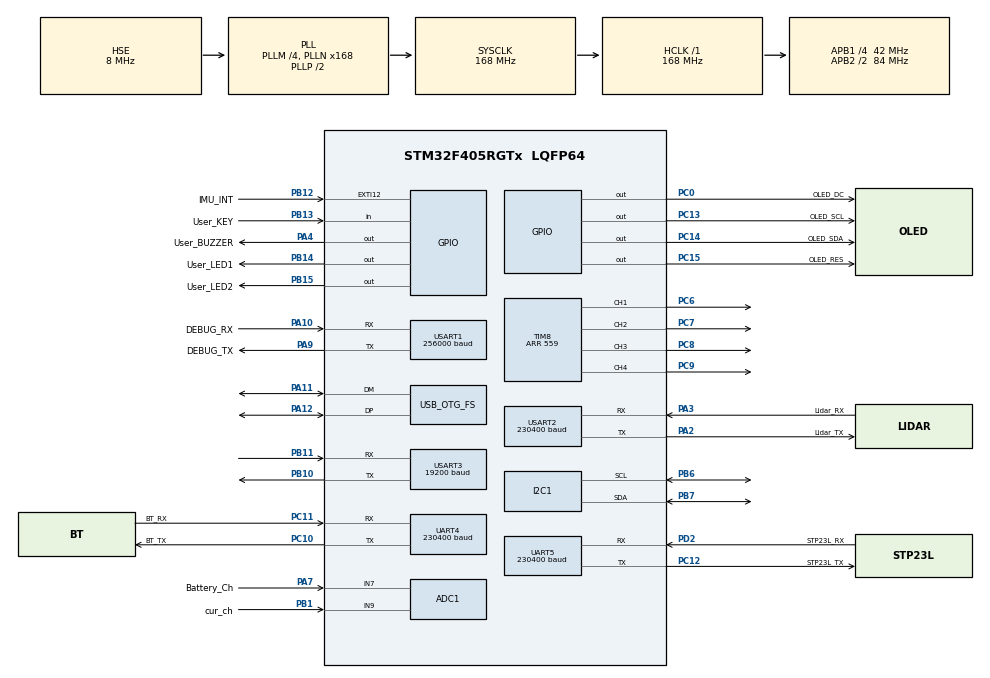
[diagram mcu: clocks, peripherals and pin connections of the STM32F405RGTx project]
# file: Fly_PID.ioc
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ADC1.Channel-0\#ChannelRegularConversion=ADC_CHANNEL_7
ADC1.Channel-1\#ChannelRegularConversion=ADC_CHANNEL_9
ADC1.ClockPrescaler=ADC_CLOCK_SYNC_PCLK_DIV6
ADC1.ContinuousConvMode=ENABLE
ADC1.DMAContinuousRequests=ENABLE
ADC1.NbrOfConversion=2
ADC1.NbrOfConversionFlag=1
ADC1.Rank-0\#ChannelRegularConversion=1
ADC1.Rank-1\#ChannelRegularConversion=2
ADC1.SamplingTime-0\#ChannelRegularConversion=ADC_SAMPLETIME_480CYCLES
ADC1.SamplingTime-1\#ChannelRegularConversion=ADC_SAMPLETIME_480CYCLES
ADC1.ScanConvMode=ENABLE
ADC1.master=1
Dma.ADC1.5.Direction=DMA_PERIPH_TO_MEMORY
Dma.ADC1.5.FIFOMode=DMA_FIFOMODE_DISABLE
Dma.ADC1.5.Instance=DMA2_Stream0
Dma.ADC1.5.MemDataAlignment=DMA_MDATAALIGN_HALFWORD
Dma.ADC1.5.MemInc=DMA_MINC_ENABLE
Dma.ADC1.5.Mode=DMA_CIRCULAR
Dma.ADC1.5.PeriphDataAlignment=DMA_PDATAALIGN_HALFWORD
Dma.ADC1.5.PeriphInc=DMA_PINC_DISABLE
Dma.ADC1.5.Priority=DMA_PRIORITY_LOW
Dma.Request0=USART2_RX
Dma.Request1=TIM8_CH1
Dma.Request2=TIM8_CH2
Dma.Request3=TIM8_CH3
Dma.Request4=TIM8_CH4/TRIG/COM
Dma.Request5=ADC1
Dma.Request6=UART5_RX
Dma.Request7=UART4_TX
Dma.Request8=USART3_RX
Dma.TIM8_CH1.1.Direction=DMA_MEMORY_TO_PERIPH
Dma.TIM8_CH1.1.FIFOMode=DMA_FIFOMODE_DISABLE
Dma.TIM8_CH1.1.Instance=DMA2_Stream2
Dma.TIM8_CH1.1.MemDataAlignment=DMA_MDATAALIGN_HALFWORD
Dma.TIM8_CH1.1.MemInc=DMA_MINC_ENABLE
Dma.TIM8_CH1.1.Mode=DMA_NORMAL
Dma.TIM8_CH1.1.PeriphDataAlignment=DMA_PDATAALIGN_HALFWORD
Dma.TIM8_CH1.1.PeriphInc=DMA_PINC_DISABLE
Dma.TIM8_CH1.1.Priority=DMA_PRIORITY_LOW
Dma.TIM8_CH2.2.Direction=DMA_MEMORY_TO_PERIPH
Dma.TIM8_CH2.2.FIFOMode=DMA_FIFOMODE_DISABLE
Dma.TIM8_CH2.2.Instance=DMA2_Stream3
Dma.TIM8_CH2.2.MemDataAlignment=DMA_MDATAALIGN_HALFWORD
Dma.TIM8_CH2.2.MemInc=DMA_MINC_ENABLE
Dma.TIM8_CH2.2.Mode=DMA_NORMAL
Dma.TIM8_CH2.2.PeriphDataAlignment=DMA_PDATAALIGN_HALFWORD
Dma.TIM8_CH2.2.PeriphInc=DMA_PINC_DISABLE
Dma.TIM8_CH2.2.Priority=DMA_PRIORITY_LOW
Dma.TIM8_CH3.3.Direction=DMA_MEMORY_TO_PERIPH
Dma.TIM8_CH3.3.FIFOMode=DMA_FIFOMODE_DISABLE
Dma.TIM8_CH3.3.Instance=DMA2_Stream4
Dma.TIM8_CH3.3.MemDataAlignment=DMA_MDATAALIGN_HALFWORD
Dma.TIM8_CH3.3.MemInc=DMA_MINC_ENABLE
Dma.TIM8_CH3.3.Mode=DMA_NORMAL
Dma.TIM8_CH3.3.PeriphDataAlignment=DMA_PDATAALIGN_HALFWORD
Dma.TIM8_CH3.3.PeriphInc=DMA_PINC_DISABLE
Dma.TIM8_CH3.3.Priority=DMA_PRIORITY_LOW
Dma.TIM8_CH4/TRIG/COM.4.Direction=DMA_MEMORY_TO_PERIPH
Dma.TIM8_CH4/TRIG/COM.4.FIFOMode=DMA_FIFOMODE_DISABLE
Dma.TIM8_CH4/TRIG/COM.4.Instance=DMA2_Stream7
Dma.TIM8_CH4/TRIG/COM.4.MemDataAlignment=DMA_MDATAALIGN_HALFWORD
Dma.TIM8_CH4/TRIG/COM.4.MemInc=DMA_MINC_ENABLE
Dma.TIM8_CH4/TRIG/COM.4.Mode=DMA_NORMAL
Dma.TIM8_CH4/TRIG/COM.4.PeriphDataAlignment=DMA_PDATAALIGN_HALFWORD
Dma.TIM8_CH4/TRIG/COM.4.PeriphInc=DMA_PINC_DISABLE
Dma.TIM8_CH4/TRIG/COM.4.Priority=DMA_PRIORITY_LOW
Dma.UART4_TX.7.Direction=DMA_MEMORY_TO_PERIPH
Dma.UART4_TX.7.FIFOMode=DMA_FIFOMODE_DISABLE
Dma.UART4_TX.7.Instance=DMA1_Stream4
Dma.UART4_TX.7.MemDataAlignment=DMA_MDATAALIGN_BYTE
Dma.UART4_TX.7.MemInc=DMA_MINC_ENABLE
Dma.UART4_TX.7.Mode=DMA_NORMAL
Dma.UART4_TX.7.PeriphDataAlignment=DMA_PDATAALIGN_BYTE
Dma.UART4_TX.7.PeriphInc=DMA_PINC_DISABLE
Dma.UART4_TX.7.Priority=DMA_PRIORITY_LOW
Dma.UART5_RX.6.Direction=DMA_PERIPH_TO_MEMORY
Dma.UART5_RX.6.FIFOMode=DMA_FIFOMODE_DISABLE
Dma.UART5_RX.6.Instance=DMA1_Stream0
Dma.UART5_RX.6.MemDataAlignment=DMA_MDATAALIGN_BYTE
Dma.UART5_RX.6.MemInc=DMA_MINC_ENABLE
Dma.UART5_RX.6.Mode=DMA_NORMAL
Dma.UART5_RX.6.PeriphDataAlignment=DMA_PDATAALIGN_BYTE
Dma.UART5_RX.6.PeriphInc=DMA_PINC_DISABLE
Dma.UART5_RX.6.Priority=DMA_PRIORITY_LOW
Dma.USART2_RX.0.Direction=DMA_PERIPH_TO_MEMORY
Dma.USART2_RX.0.FIFOMode=DMA_FIFOMODE_DISABLE
Dma.USART2_RX.0.Instance=DMA1_Stream5
Dma.USART2_RX.0.MemDataAlignment=DMA_MDATAALIGN_BYTE
Dma.USART2_RX.0.MemInc=DMA_MINC_ENABLE
Dma.USART2_RX.0.Mode=DMA_NORMAL
Dma.USART2_RX.0.PeriphDataAlignment=DMA_PDATAALIGN_BYTE
Dma.USART2_RX.0.PeriphInc=DMA_PINC_DISABLE
Dma.USART2_RX.0.Priority=DMA_PRIORITY_HIGH
Dma.USART3_RX.8.Direction=DMA_PERIPH_TO_MEMORY
Dma.USART3_RX.8.FIFOMode=DMA_FIFOMODE_DISABLE
Dma.USART3_RX.8.Instance=DMA1_Stream1
Dma.USART3_RX.8.MemDataAlignment=DMA_MDATAALIGN_BYTE
Dma.USART3_RX.8.MemInc=DMA_MINC_ENABLE
Dma.USART3_RX.8.Mode=DMA_NORMAL
Dma.USART3_RX.8.PeriphDataAlignment=DMA_PDATAALIGN_BYTE
Dma.USART3_RX.8.PeriphInc=DMA_PINC_DISABLE
Dma.USART3_RX.8.Priority=DMA_PRIORITY_LOW
FREERTOS.Tasks01=defaultTask,24,128,StartDefaultTask,Default,NULL,Dynamic,NULL,NULL
FREERTOS.configCHECK_FOR_STACK_OVERFLOW=2
FREERTOS.configENABLE_FPU=1
FREERTOS.configGENERATE_RUN_TIME_STATS=1
FREERTOS.configLIBRARY_MAX_SYSCALL_INTERRUPT_PRIORITY=5
FREERTOS.configMINIMAL_STACK_SIZE=128
FREERTOS.configTIMER_TASK_PRIORITY=25
FREERTOS.configTIMER_TASK_STACK_DEPTH=256
FREERTOS.configTOTAL_HEAP_SIZE=25600
FREERTOS.configUSE_IDLE_HOOK=1
FREERTOS.configUSE_MALLOC_FAILED_HOOK=1
FREERTOS.configUSE_STATS_FORMATTING_FUNCTIONS=1
I2C1.I2C_Mode=I2C_Fast
Mcu.Family=STM32F4
Mcu.Name=STM32F405RGTx
Mcu.Package=LQFP64
NVIC.DMA1_Stream0_IRQn=true\:5\:0\:false\:false\:true\:true\:false\:true\:true
NVIC.DMA1_Stream1_IRQn=true\:5\:0\:false\:false\:true\:true\:false\:true\:true
NVIC.DMA1_Stream4_IRQn=true\:5\:0\:false\:false\:true\:true\:false\:true\:true
NVIC.DMA1_Stream5_IRQn=true\:5\:0\:false\:false\:true\:true\:false\:true\:true
NVIC.DMA2_Stream0_IRQn=true\:5\:0\:false\:false\:true\:true\:false\:true\:true
NVIC.DMA2_Stream2_IRQn=true\:5\:0\:false\:false\:true\:true\:false\:true\:true
NVIC.DMA2_Stream3_IRQn=true\:5\:0\:false\:false\:true\:true\:false\:true\:true
NVIC.DMA2_Stream4_IRQn=true\:5\:0\:false\:false\:true\:true\:false\:true\:true
NVIC.DMA2_Stream7_IRQn=true\:5\:0\:false\:false\:true\:true\:false\:true\:true
NVIC.EXTI15_10_IRQn=true\:5\:0\:true\:false\:true\:false\:true\:true\:true
NVIC.OTG_FS_IRQn=true\:5\:0\:false\:false\:true\:true\:true\:true\:true
NVIC.PriorityGroup=NVIC_PRIORITYGROUP_4
NVIC.TIM7_IRQn=true\:0\:0\:true\:false\:true\:false\:false\:true\:true
NVIC.TIM8_UP_TIM13_IRQn=true\:5\:0\:false\:false\:true\:true\:true\:true\:true
NVIC.TimeBase=TIM7_IRQn
NVIC.TimeBaseIP=TIM7
NVIC.UART4_IRQn=true\:5\:0\:false\:false\:true\:true\:true\:true\:true
NVIC.UART5_IRQn=true\:5\:0\:false\:false\:true\:true\:true\:true\:true
NVIC.USART1_IRQn=true\:5\:0\:true\:false\:true\:true\:false\:true\:true
NVIC.USART2_IRQn=true\:8\:0\:true\:false\:true\:true\:true\:true\:true
NVIC.USART3_IRQn=true\:5\:0\:false\:false\:true\:true\:true\:true\:true
PA10.GPIO_Label=DEBUG_RX
PA10.Mode=Asynchronous
PA10.Signal=USART1_RX
PA11.Mode=Host_Only
PA11.Signal=USB_OTG_FS_DM
PA12.Mode=Host_Only
PA12.Signal=USB_OTG_FS_DP
PA13.Mode=Serial_Wire
PA13.Signal=SYS_JTMS-SWDIO
PA14.Mode=Serial_Wire
PA14.Signal=SYS_JTCK-SWCLK
PA2.GPIO_Label=Lidar_TX
PA2.Mode=Asynchronous
PA2.Signal=USART2_TX
PA3.GPIO_Label=Lidar_RX
PA3.Mode=Asynchronous
PA3.Signal=USART2_RX
PA4.GPIO_Label=User_BUZZER
PA4.GPIO_PuPd=GPIO_PULLDOWN
PA4.Signal=GPIO_Output
PA7.GPIO_Label=Battery_Ch
PA7.Signal=ADCx_IN7
PA9.GPIO_Label=DEBUG_TX
PA9.Mode=Asynchronous
PA9.Signal=USART1_TX
PB1.GPIO_Label=cur_ch
PB1.Signal=ADCx_IN9
PB10.Mode=Asynchronous
PB10.Signal=USART3_TX
PB11.Mode=Asynchronous
PB11.Signal=USART3_RX
PB12.GPIO_Label=IMU_INT
PB12.GPIO_ModeDefaultEXTI=GPIO_MODE_IT_RISING
PB12.GPIO_PuPd=GPIO_PULLDOWN
PB12.Signal=GPXTI12
PB13.GPIO_Label=User_KEY
PB13.Signal=GPIO_Input
PB14.GPIO_Label=User_LED1
PB14.GPIO_ModeDefaultOutputPP=GPIO_MODE_OUTPUT_PP
PB14.GPIO_PuPd=GPIO_PULLUP
PB14.PinState=GPIO_PIN_SET
PB14.Signal=GPIO_Output
PB15.GPIO_Label=User_LED2
PB15.GPIO_PuPd=GPIO_PULLUP
PB15.PinState=GPIO_PIN_SET
PB15.Signal=GPIO_Output
PB6.Mode=I2C
PB6.Signal=I2C1_SCL
PB7.Mode=I2C
PB7.Signal=I2C1_SDA
PC0.GPIO_Label=OLED_DC
PC0.Signal=GPIO_Output
PC10.GPIO_Label=BT_TX
PC10.Mode=Asynchronous
PC10.Signal=UART4_TX
PC11.GPIO_Label=BT_RX
PC11.Mode=Asynchronous
PC11.Signal=UART4_RX
PC12.GPIO_Label=STP23L_TX
PC12.Mode=Asynchronous
PC12.Signal=UART5_TX
PC13-ANTI_TAMP.GPIO_Label=OLED_SCL
PC13-ANTI_TAMP.Signal=GPIO_Output
PC14-OSC32_IN.GPIO_Label=OLED_SDA
PC14-OSC32_IN.Signal=GPIO_Output
PC15-OSC32_OUT.GPIO_Label=OLED_RES
PC15-OSC32_OUT.Signal=GPIO_Output
PC6.GPIO_Speed=GPIO_SPEED_FREQ_VERY_HIGH
PC6.Signal=S_TIM8_CH1
PC7.GPIO_Speed=GPIO_SPEED_FREQ_VERY_HIGH
PC7.Signal=S_TIM8_CH2
PC8.GPIO_Speed=GPIO_SPEED_FREQ_VERY_HIGH
PC8.Signal=S_TIM8_CH3
PC9.GPIO_Speed=GPIO_SPEED_FREQ_VERY_HIGH
PC9.Signal=S_TIM8_CH4
PD2.GPIO_Label=STP23L_RX
PD2.Mode=Asynchronous
PD2.Signal=UART5_RX
PH0-OSC_IN.Mode=HSE-External-Oscillator
PH0-OSC_IN.Signal=RCC_OSC_IN
PH1-OSC_OUT.Mode=HSE-External-Oscillator
PH1-OSC_OUT.Signal=RCC_OSC_OUT
ProjectManager.HeapSize=0x200
ProjectManager.StackSize=0x400
ProjectManager.TargetToolchain=MDK-ARM V5.32
RCC.48MHZClocksFreq_Value=48000000
RCC.AHBFreq_Value=168000000
RCC.APB1CLKDivider=RCC_HCLK_DIV4
RCC.APB1Freq_Value=42000000
RCC.APB1TimFreq_Value=84000000
RCC.APB2CLKDivider=RCC_HCLK_DIV2
RCC.APB2Freq_Value=84000000
RCC.APB2TimFreq_Value=168000000
RCC.CortexFreq_Value=168000000
RCC.HCLKFreq_Value=168000000
RCC.HSE_VALUE=8000000
RCC.HSI_VALUE=16000000
RCC.LSE_VALUE=32768
RCC.PLLM=4
RCC.PLLN=168
RCC.PLLQ=7
RCC.SYSCLKFreq_VALUE=168000000
RCC.SYSCLKSource=RCC_SYSCLKSOURCE_PLLCLK
RCC.VCOOutputFreq_Value=336000000
SH.ADCx_IN7.0=ADC1_IN7,IN7
SH.ADCx_IN9.0=ADC1_IN9,IN9
SH.S_TIM8_CH1.0=TIM8_CH1,PWM Generation1 CH1
SH.S_TIM8_CH2.0=TIM8_CH2,PWM Generation2 CH2
SH.S_TIM8_CH3.0=TIM8_CH3,PWM Generation3 CH3
SH.S_TIM8_CH4.0=TIM8_CH4,PWM Generation4 CH4
TIM6.Period=0xffff
TIM6.Prescaler=839
TIM8.Channel-PWM\ Generation1\ CH1=TIM_CHANNEL_1
TIM8.Channel-PWM\ Generation2\ CH2=TIM_CHANNEL_2
TIM8.Channel-PWM\ Generation3\ CH3=TIM_CHANNEL_3
TIM8.Channel-PWM\ Generation4\ CH4=TIM_CHANNEL_4
TIM8.Period=559
UART4.BaudRate=230400
UART4.VirtualMode=Asynchronous
UART5.BaudRate=230400
UART5.VirtualMode=Asynchronous
USART1.BaudRate=256000
USART1.VirtualMode=VM_ASYNC
USART2.BaudRate=230400
USART2.VirtualMode=VM_ASYNC
USART3.BaudRate=19200
USART3.VirtualMode=VM_ASYNC
USB_HOST.SW_VBUS_DRIVE_HID_FS=true
USB_HOST.USBH_HandleTypeDef-HID_FS=hUsbHostFS
USB_HOST.USBH_MAX_DATA_BUFFER-HID_FS=1024
USB_HOST.USBH_MAX_NUM_SUPPORTED_CLASS-HID_FS=2
USB_HOST.USBH_PROCESS_STACK_SIZE-HID_FS=1024
USB_HOST.VirtualModeFS=Hid
USB_OTG_FS.VirtualMode=Host_Only
USB_OTG_FS.phy_itface=HCD_PHY_EMBEDDED
VP_FREERTOS_VS_CMSIS_V2.Mode=CMSIS_V2
VP_SYS_VS_tim7.Mode=TIM7
VP_TIM6_VS_ClockSourceINT.Mode=Enable_Timer
VP_TIM8_VS_ClockSourceINT.Mode=Internal
VP_USB_HOST_VS_USB_HOST_HID_FS.Mode=HID_FS
board=custom

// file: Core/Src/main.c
/* USER CODE BEGIN Header */
/**
  ******************************************************************************
  * @file           : main.c
  * @brief          : Main program body
  ******************************************************************************
  * @attention
  *
  * Copyright (c) 2024 STMicroelectronics.
  * All rights reserved.
  *
  * This software is licensed under terms that can be found in the LICENSE file
  * in the root directory of this software component.
  * If no LICENSE file comes with this software, it is provided AS-IS.
  *
  ******************************************************************************
  */
/* USER CODE END Header */
#include "main.h"
#include "cmsis_os.h"
#include "adc.h"
#include "dma.h"
#include "i2c.h"
#include "tim.h"
#include "usart.h"
#include "usb_host.h"
#include "gpio.h"

/* USER CODE BEGIN Includes */
//C Lib
#include <stdio.h>

//FreeRTOS
#include "FreeRTOS.h"
#include "semphr.h"

//HAL

//BSP
#include "bsp_led.h"
#include "bsp_oled.h"
#include "bsp_adc.h"
#include "bsp_imu.h"
#include "bsp_LC307.h"
/* USER CODE END Includes */

/* USER CODE BEGIN PV */
uint8_t uart1_recv,uart4_recv;
float g_userparam_pitchzero = 0 , g_userparam_rollzero = 0;
DebugShowVal_t g_debugVal = { 0 };
/* USER CODE END PV */

void SystemClock_Config(void);
void MX_FREERTOS_Init(void);

int main(void)
{

  /* MCU Configuration--------------------------------------------------------*/

  /* Reset of all peripherals, Initializes the Flash interface and the Systick. */
  HAL_Init();

  /* Configure the system clock */
  SystemClock_Config();

  /* Initialize all configured peripherals */
  MX_GPIO_Init();
  MX_DMA_Init();
  MX_USART1_UART_Init();
  MX_USART2_UART_Init();
  MX_TIM6_Init();
  MX_TIM8_Init();
  MX_I2C1_Init();
  MX_ADC1_Init();
  MX_UART5_Init();
  MX_UART4_Init();
  MX_USART3_UART_Init();
  /* USER CODE BEGIN 2 */

	pOLEDInterface_t oled = &UserOLED;
	oled->init();

	//蓝牙、调试串口
	HAL_UART_Receive_IT(&huart4,&uart4_recv,1);
	HAL_UART_Receive_IT(&huart1,&uart1_recv,1);

	//用户调试定时器
	HAL_TIM_Base_Start(&htim6);

	//ADC初始化
	pADCInterface_t adc1 = &UserADC1;
	adc1->init();

	//使用硬件IIC时需要
	//检查硬件IIC是否出现BUSY异常
	if( (I2C1->SR2>>1)&0x01 )
	{
		HAL_I2C_MspDeInit(&hi2c1);

		//将IIC总线强制释放
		GPIO_InitTypeDef GPIO_InitStruct = {0};
		GPIO_InitStruct.Pin = GPIO_PIN_6|GPIO_PIN_7;
		GPIO_InitStruct.Mode = GPIO_MODE_OUTPUT_PP;
		GPIO_InitStruct.Pull = GPIO_PULLUP;
		GPIO_InitStruct.Speed = GPIO_SPEED_FREQ_LOW;
		HAL_GPIO_Init(GPIOB, &GPIO_InitStruct);
		HAL_GPIO_WritePin(GPIOB,GPIO_PIN_6,GPIO_PIN_SET);
		HAL_GPIO_WritePin(GPIOB,GPIO_PIN_7,GPIO_PIN_SET);

		//重新初始化IIC
		I2C1->CR1 &= ~(1<<0);//禁止IIC外设
		HAL_Delay(50);
		I2C1->CR1 |= (1<<0);//重新使能
		I2C1->CR1 |= (1<<15);//进行软件复位
		HAL_Delay(50);
		I2C1->CR1 &= ~(1<<15);
		MX_I2C1_Init();
	}

  //icm20948初始化与状态提示
  pLedInterface_t imu_initled = &UserLed1;
  pIMUInterface_t imu = &UserICM20948;

  imu_initled -> off();
  while( imu->Init() )
  {
	  imu_initled -> toggle();//初始化过程出错,闪烁
	  HAL_Delay(60);
	  NVIC_SystemReset();
  }
  imu_initled -> on();//初始化完成,亮灯提示

   //光流模块初始化
  Opf_LC307_Init();

  //读取用户设定的零点数据
  extern void User_Flash_ReadParam(uint32_t* p,uint16_t datalen);
  int32_t tmp[2] = { 0 } ;
  User_Flash_ReadParam((uint32_t*)tmp,2);
  if( tmp[0]!=0xffffffff )
	  g_userparam_pitchzero = *((float*)&tmp[0]);
  if( tmp[1]!=0xffffffff )
	  g_userparam_rollzero = *((float*)&tmp[1]);

  /* USER CODE END 2 */

  /* Init scheduler */
  osKernelInitialize();

  /* Call init function for freertos objects (in cmsis_os2.c) */
  MX_FREERTOS_Init();

  /* Start scheduler */
  osKernelStart();

  /* We should never get here as control is now taken by the scheduler */

  /* Infinite loop */
  while (1)
  {

  }
}

void SystemClock_Config(void)
{
  RCC_OscInitTypeDef RCC_OscInitStruct = {0};
  RCC_ClkInitTypeDef RCC_ClkInitStruct = {0};

  /** Configure the main internal regulator output voltage
  */
  __HAL_RCC_PWR_CLK_ENABLE();
  __HAL_PWR_VOLTAGESCALING_CONFIG(PWR_REGULATOR_VOLTAGE_SCALE1);

  /** Initializes the RCC Oscillators according to the specified parameters
  * in the RCC_OscInitTypeDef structure.
  */
  RCC_OscInitStruct.OscillatorType = RCC_OSCILLATORTYPE_HSE;
  RCC_OscInitStruct.HSEState = RCC_HSE_ON;
  RCC_OscInitStruct.PLL.PLLState = RCC_PLL_ON;
  RCC_OscInitStruct.PLL.PLLSource = RCC_PLLSOURCE_HSE;
  RCC_OscInitStruct.PLL.PLLM = 4;
  RCC_OscInitStruct.PLL.PLLN = 168;
  RCC_OscInitStruct.PLL.PLLP = RCC_PLLP_DIV2;
  RCC_OscInitStruct.PLL.PLLQ = 7;
  if (HAL_RCC_OscConfig(&RCC_OscInitStruct) != HAL_OK)
  {
    Error_Handler();
  }

  /** Initializes the CPU, AHB and APB buses clocks
  */
  RCC_ClkInitStruct.ClockType = RCC_CLOCKTYPE_HCLK|RCC_CLOCKTYPE_SYSCLK
                              |RCC_CLOCKTYPE_PCLK1|RCC_CLOCKTYPE_PCLK2;
  RCC_ClkInitStruct.SYSCLKSource = RCC_SYSCLKSOURCE_PLLCLK;
  RCC_ClkInitStruct.AHBCLKDivider = RCC_SYSCLK_DIV1;
  RCC_ClkInitStruct.APB1CLKDivider = RCC_HCLK_DIV4;
  RCC_ClkInitStruct.APB2CLKDivider = RCC_HCLK_DIV2;

  if (HAL_RCC_ClockConfig(&RCC_ClkInitStruct, FLASH_LATENCY_5) != HAL_OK)
  {
    Error_Handler();
  }
}

/* USER CODE BEGIN 4 */

UART_HandleTypeDef *DebugSerial = &huart1;

//实现printf、scanf函数
int fputc(int ch,FILE* stream)
{
	while( HAL_OK != HAL_UART_Transmit(DebugSerial,(const uint8_t *)&ch,1,100));
	return ch;
}

static xSemaphoreHandle debug_1_HandleMutex;
static char g_last_char;
static char g_backspace;

int fgetc(FILE* f)
{
	//没有初始化则调用初始化函数
	static uint8_t init = 0;
	if( init == 0 )
	{
		init = 1;
		debug_1_HandleMutex = xSemaphoreCreateMutex();
	}

	int ch;
	if( g_backspace )
	{
		xSemaphoreTake(debug_1_HandleMutex,portMAX_DELAY);
		g_backspace = 0 ;
		xSemaphoreGive(debug_1_HandleMutex);

		return g_last_char;
	}

	while( HAL_OK!= HAL_UART_Receive(DebugSerial,(uint8_t *)&ch,1,HAL_MAX_DELAY) );
	g_last_char = ch;
	return ch;
}

int __backspace(FILE *stream)
{
	xSemaphoreTake(debug_1_HandleMutex,portMAX_DELAY);
	g_backspace = 1 ;
	xSemaphoreGive(debug_1_HandleMutex);
	return 0;
}

//定时器8更新中断回调函数
__weak void User_TIM8_UpdateCallback(void)
{

}

/* USER CODE END 4 */

void HAL_TIM_PeriodElapsedCallback(TIM_HandleTypeDef *htim)
{
  if (htim->Instance == TIM7) {
    HAL_IncTick();
  }
  /* USER CODE BEGIN Callback 1 */
	else if(TIM8 == htim->Instance)
	{
		User_TIM8_UpdateCallback();
	}

  /* USER CODE END Callback 1 */
}

void Error_Handler(void)
{
  __disable_irq();
  while (1)
  {
  }
}

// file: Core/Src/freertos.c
/* USER CODE BEGIN Header */
/**
  ******************************************************************************
  * File Name          : freertos.c
  * Description        : Code for freertos applications
  ******************************************************************************
  * @attention
  *
  * Copyright (c) 2024 STMicroelectronics.
  * All rights reserved.
  *
  * This software is licensed under terms that can be found in the LICENSE file
  * in the root directory of this software component.
  * If no LICENSE file comes with this software, it is provided AS-IS.
  *
  ******************************************************************************
  */
/* USER CODE END Header */

#include "FreeRTOS.h"
#include "task.h"
#include "main.h"
#include "cmsis_os.h"

/* USER CODE BEGIN Includes */

//C Lib
#include <stdio.h>

#include "queue.h"
#include "semphr.h"
#include "event_groups.h"

//HAL
#include "usart.h"

//BSP
#include "bsp_stp23L.h"
//#include "bsp_N10.h"
#include "bsp_stl06n.h"

//APP
#include "balance_task.h"

/* USER CODE END Includes */

/* USER CODE BEGIN PD */
#define userconfig_OPEN_STACK_CHECK 0     //开启任务堆栈大小打印
#define userconfig_OPEN_CPU_USAGE_CHECK 0 //开启任务CPU占用率打印
#define userconfig_OPEN_CHECK_HEAPSIZE 0  //打印剩余的堆大小
/* USER CODE END PD */

/* USER CODE BEGIN Variables */
xSemaphoreHandle HandleMutex_printf;

    //任务句柄
TaskHandle_t sensorhandleTask_Handle;
TaskHandle_t balanceTask_Handle;
TaskHandle_t g_xTaskHandleCoordTask;

    //队列句柄
    QueueHandle_t g_xQueuestp23L_Ori;     //外围设备：stp23L雷达 原始数据的读取
    QueueHandle_t g_xQueueN10_Ori;        //外围设备：N10雷达        原始数据的读取
QueueHandle_t g_xQueuestl06n_Ori;

    QueueSetHandle_t g_xQueueSetSensor;   //传感器消息队列集合，汇聚所有传感器的数据
    QueueHandle_t g_xQueueFlyControl;     //飞行器控制队列
    QueueHandle_t g_xQueueBlueTooth_Ori;  //蓝牙APP原始数据
    QueueHandle_t g_xQueueLidarBuffer;    //雷达数据队列

    //事件组
    EventGroupHandle_t g_xEventFlyAction; //飞行器事件组句柄

/* USER CODE END Variables */
/* Definitions for defaultTask */
osThreadId_t defaultTaskHandle;
const osThreadAttr_t defaultTask_attributes = {
  .name = "defaultTask",
  .stack_size = 128 * 4,
  .priority = (osPriority_t) osPriorityNormal,
};

/* USER CODE BEGIN FunctionPrototypes */

    //RTOS系统调试功能
#if ( 1 == userconfig_OPEN_CPU_USAGE_CHECK ) || ( 1 == userconfig_OPEN_STACK_CHECK ) || ( 1 == userconfig_OPEN_CHECK_HEAPSIZE )
void CpuUsageCheckTask(void *param);
#endif

    //显示任务
__weak void ShowTask(void* param)
{
  for(;;) vTaskDelay(1);
}

    //外围传感器数据处理任务
__weak void SensorHandleTask(void* param)
{
  for(;;) vTaskDelay(1);
}

    //平衡控制任务
__weak void balance_task(void* param)
{
  for(;;) vTaskDelay(1);
}

    //蓝牙APP控制任务
__weak void BluetoothAPPControl_task(void* param)
{
  for(;;) vTaskDelay(1);
}

__weak void CoordinateHandleTask(void* param)
{
  for(;;) vTaskDelay(1);
}

/* USER CODE END FunctionPrototypes */

void StartDefaultTask(void *argument);

extern void MX_USB_HOST_Init(void);
void MX_FREERTOS_Init(void); /* (MISRA C 2004 rule 8.1) */

/* Hook prototypes */
void configureTimerForRunTimeStats(void);
unsigned long getRunTimeCounterValue(void);
void vApplicationIdleHook(void);
void vApplicationStackOverflowHook(xTaskHandle xTask, signed char *pcTaskName);
void vApplicationMallocFailedHook(void);

/* USER CODE BEGIN 1 */
/* Functions needed when configGENERATE_RUN_TIME_STATS is on */
__weak void configureTimerForRunTimeStats(void)
{
      //使用CPU占用率计时前先清空计数
  TIM6->CNT = 0;
}

__weak unsigned long getRunTimeCounterValue(void)
{
  static unsigned long time = 0 ;
  static uint16_t lasttime = 0;
  static uint16_t nowtime = 0;

      nowtime = TIM6->CNT; //获得当前计数值

      //若本次计数值小于上次计数值，说明发生了定时器溢出
  if( nowtime < lasttime )
  {
        time += (nowtime + 0xffff - lasttime); //累加定时器周期
  }
      else time += ( nowtime - lasttime ) ; //未溢出则直接为当前时间-上次时间

  lasttime = nowtime;

  return time;
}

/* USER CODE END 1 */

/* USER CODE BEGIN 2 */
void vApplicationIdleHook( void )
{
   /* vApplicationIdleHook() will only be called if configUSE_IDLE_HOOK is set
   to 1 in FreeRTOSConfig.h. It will be called on each iteration of the idle
   task. It is essential that code added to this hook function never attempts
   to block in any way (for example, call xQueueReceive() with a block time
   specified, or call vTaskDelay()). If the application makes use of the
   vTaskDelete() API function (as this demo application does) then it is also
   important that vApplicationIdleHook() is permitted to return to its calling
   function, because it is the responsibility of the idle task to clean up
   memory allocated by the kernel to any task that has since been deleted. */
}
/* USER CODE END 2 */

/* USER CODE BEGIN 4 */
void vApplicationStackOverflowHook(xTaskHandle xTask, signed char *pcTaskName)
{
   /* Run time stack overflow checking is performed if
   configCHECK_FOR_STACK_OVERFLOW is defined to 1 or 2. This hook function is
   called if a stack overflow is detected. */
  printf("%s stack overflow\r\n",pcTaskName);
}
/* USER CODE END 4 */

/* USER CODE BEGIN 5 */
void vApplicationMallocFailedHook(void)
{
   /* vApplicationMallocFailedHook() will only be called if
   configUSE_MALLOC_FAILED_HOOK is set to 1 in FreeRTOSConfig.h. It is a hook
   function that will get called if a call to pvPortMalloc() fails.
   pvPortMalloc() is called internally by the kernel whenever a task, queue,
   timer or semaphore is created. It is also called by various parts of the
   demo application. If heap_1.c or heap_2.c are used, then the size of the
   heap available to pvPortMalloc() is defined by configTOTAL_HEAP_SIZE in
   FreeRTOSConfig.h, and the xPortGetFreeHeapSize() API function can be used
   to query the size of free heap space that remains (although it does not
   provide information on how the remaining heap might be fragmented). */
  printf("malloc failed.check heapsize\r\n");
}
/* USER CODE END 5 */

void MX_FREERTOS_Init(void) {

  /* USER CODE BEGIN RTOS_MUTEX */
  /* add mutexes, ... */
  HandleMutex_printf = xSemaphoreCreateMutex();

  /* USER CODE END RTOS_MUTEX */

  /* USER CODE BEGIN RTOS_QUEUES */
  /* add queues, ... */
      /* 创建队列 */
  g_xQueuestp23L_Ori = xQueueCreate(5,sizeof(OriData_STP23L_t));
  g_xQueuestl06n_Ori    = xQueueCreate(10,sizeof(OriData_STL06N_t));
  g_xQueueFlyControl = xQueueCreate(1,sizeof(FlyControlType_t));
  g_xQueueBlueTooth_Ori = xQueueCreate(50,sizeof(char));
  g_xQueueLidarBuffer = xQueueCreate(5,sizeof(Stl06NAngleBuffer_t));

      /* 创建队列集合，并加入队列 */
  g_xQueueSetSensor = xQueueCreateSet( 5 + 10 );
  xQueueAddToSet(g_xQueuestp23L_Ori,g_xQueueSetSensor);
  xQueueAddToSet(g_xQueuestl06n_Ori,g_xQueueSetSensor);
  /* USER CODE END RTOS_QUEUES */

  /* Create the thread(s) */
  /* creation of defaultTask */
  defaultTaskHandle = osThreadNew(StartDefaultTask, NULL, &defaultTask_attributes);

  /* USER CODE BEGIN RTOS_THREADS */
  /* add threads, ... */
   xTaskCreate(ShowTask,"ShowTask",128*2,NULL,osPriorityNormal,NULL);
   xTaskCreate(SensorHandleTask,"SensorTask",128*3,NULL,osPriorityNormal,&sensorhandleTask_Handle);
   xTaskCreate(balance_task,"BalanceTask",128*4,NULL,osPriorityNormal,&balanceTask_Handle);
   xTaskCreate(BluetoothAPPControl_task,"BTAPPTask",128*2,NULL,osPriorityNormal,NULL);
   xTaskCreate(CoordinateHandleTask,"coordTask",128*16,NULL,osPriorityNormal,&g_xTaskHandleCoordTask);

      //调试功能
  #if ( 1 == userconfig_OPEN_CPU_USAGE_CHECK ) || ( 1 == userconfig_OPEN_STACK_CHECK ) || ( 1 == userconfig_OPEN_CHECK_HEAPSIZE )
       static uint16_t delaytime = 5000;//打印时间间隔，单位tick
   xTaskCreate(CpuUsageCheckTask,"DebugTask",128, &delaytime ,osPriorityAboveNormal,NULL);
  #endif
  /* USER CODE END RTOS_THREADS */

  /* USER CODE BEGIN RTOS_EVENTS */
  /* add events, ... */
      g_xEventFlyAction = xEventGroupCreate();//创建飞行器事件组句柄的实现

  /* USER CODE END RTOS_EVENTS */

}

void StartDefaultTask(void *argument)
{
  /* init code for USB_HOST */
  MX_USB_HOST_Init();
  /* USER CODE BEGIN StartDefaultTask */
  /* Infinite loop */
  for(;;)
  {
        /* 等待所有初始化完成后再使能各种外设的中断，确保每个数据都能成功被系统接收 */
    vTaskDelay(400);

        /* 启动外围设备DMA接收 */
    extern OriData_STP23L_t DMABuf_oridata_stp23L;
    HAL_UARTEx_ReceiveToIdle_DMA(&huart5,DMABuf_oridata_stp23L.Buf,userconfig_STP23L_DMABUF_LEN);

        //启动激光雷达数据包接收
    extern OriData_STL06N_t DMAbuf_ori_stl06n;
    HAL_UARTEx_ReceiveToIdle_DMA(&huart2,DMAbuf_ori_stl06n.Buf,userconfig_STL06N_DMABUF_LEN);

        vTaskDelete(NULL);//完成后删除自身
  }
  /* USER CODE END StartDefaultTask */
}

/* USER CODE BEGIN Application */

#if ( 1 == userconfig_OPEN_CPU_USAGE_CHECK ) || ( 1 == userconfig_OPEN_STACK_CHECK ) || ( 1 == userconfig_OPEN_CHECK_HEAPSIZE )
void CpuUsageCheckTask(void *param)
{
  uint16_t* delaytime = (uint16_t*)param;
  static char showbuf[500];

  while( 1 )
  {
#if 1 == userconfig_OPEN_CPU_USAGE_CHECK
        //打印CPU占用率
    vTaskGetRunTimeStats(showbuf);
    xSemaphoreTake(HandleMutex_printf,portMAX_DELAY);
    printf("TaskName\tUseTime\tCPU\r\n");
    printf("%s\r\n",showbuf);
    xSemaphoreGive(HandleMutex_printf);
    vTaskDelay(*delaytime);
#endif

#if 1 == userconfig_OPEN_STACK_CHECK
        //打印剩余任务栈大小，单位word
    vTaskList(showbuf);
    xSemaphoreTake(HandleMutex_printf,portMAX_DELAY);
    printf("TaskName\tTaskState\tTaskPrio\tStackSize\tTaskNum\r\n");
    printf("%s\r\n",showbuf);
    xSemaphoreGive(HandleMutex_printf);
    vTaskDelay(*delaytime);
#endif

#if 1 == userconfig_OPEN_CHECK_HEAPSIZE
        //打印剩余的堆内存大小，单位bytes
    xSemaphoreTake(HandleMutex_printf,portMAX_DELAY);
    printf("free heap size : %d bytes\r\n\r\n",xPortGetFreeHeapSize());
    xSemaphoreGive(HandleMutex_printf);
    vTaskDelay(*delaytime);
#endif
  }
}
#endif

/* USER CODE END Application */
